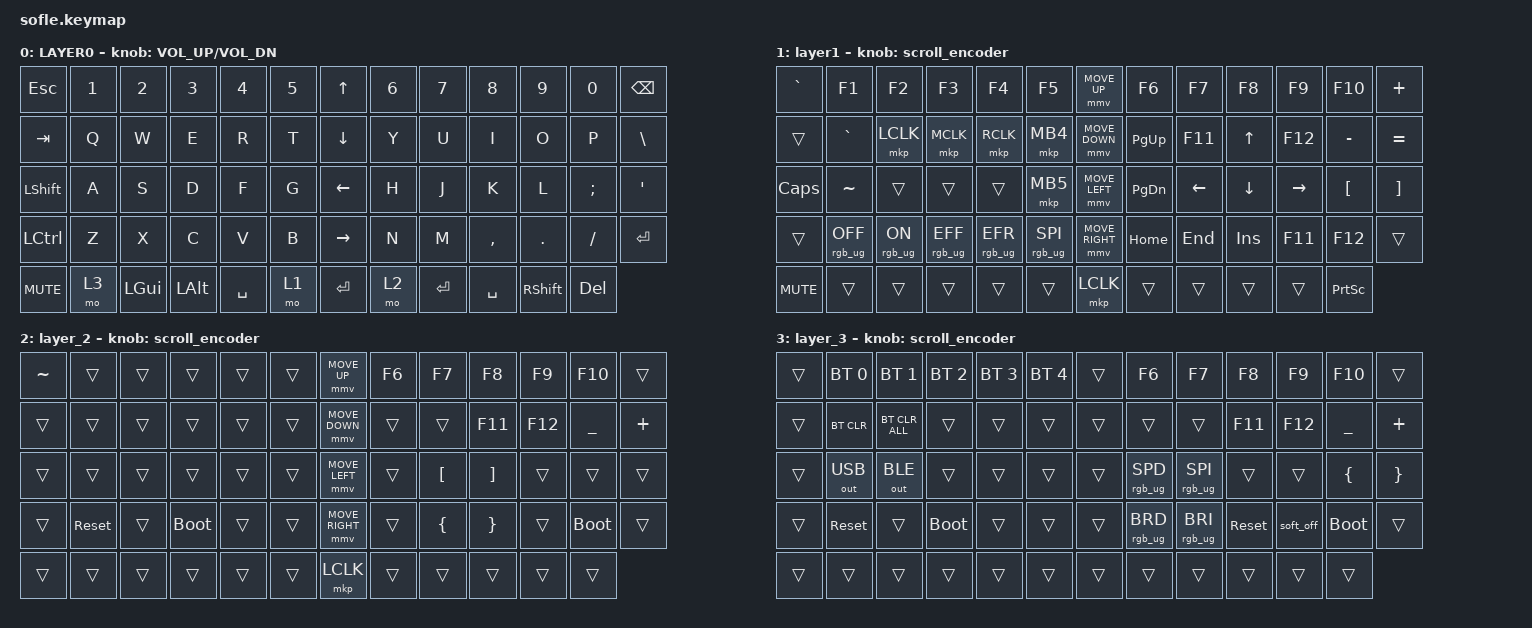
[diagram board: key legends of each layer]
#include <behaviors/mouse_keys.dtsi>
#include <behaviors.dtsi>
#include <dt-bindings/zmk/bt.h>
#include <dt-bindings/zmk/keys.h>
#include <dt-bindings/zmk/mouse.h>
#include <dt-bindings/zmk/outputs.h>
#include <dt-bindings/zmk/rgb.h>

#define ZMK_MOUSE_DEFAULT_MOVE_VAL 1200  // 600
#define ZMK_MOUSE_DEFAULT_SCRL_VAL 20    // 10
#define U_MS_U &mmv MOVE_UP
#define U_MS_D &mmv MOVE_DOWN
#define U_MS_L &mmv MOVE_LEFT
#define U_MS_R &mmv MOVE_RIGHT
#define ZMK_MOUSE_DEFAULT_MOVE_VAL 1200  //  600
#define ZMK_MOUSE_DEFAULT_SCRL_VAL 20    // 10

/ {
    behaviors {
        mmv {
            acceleration-exponent = <1>;      // 1
            time-to-max-speed-ms = <900>;    // 40
            delay-ms = <0>;                   // 0
        };

        msc {
            acceleration-exponent = <1>;      // 0
            time-to-max-speed-ms = <400>;      // 500
            delay-ms = <0>;                   //   10
        };
    };

    scroll_encoder: scroll_encoder {
        compatible = "zmk,behavior-sensor-rotate";
        #sensor-binding-cells = <0>;
        bindings = <&msc SCRL_DOWN>, <&msc SCRL_UP>;

        tap-ms = <30>;
    };

    keymap {
        compatible = "zmk,keymap";

        layer0 {
            bindings = <
&kp ESC         &kp N1  &kp N2        &kp N3        &kp N4     &kp N5    &kp UP_ARROW     &kp N6  &kp N7     &kp N8     &kp N9           &kp N0      &kp BACKSPACE
&kp TAB         &kp Q   &kp W         &kp E         &kp R      &kp T     &kp DOWN_ARROW   &kp Y   &kp U      &kp I      &kp O            &kp P       &kp BSLH
&kp LEFT_SHIFT  &kp A   &kp S         &kp D         &kp F      &kp G     &kp LEFT_ARROW   &kp H   &kp J      &kp K      &kp L            &kp SEMI    &kp APOS
&kp LCTRL       &kp Z   &kp X         &kp C         &kp V      &kp B     &kp RIGHT_ARROW  &kp N   &kp M      &kp COMMA  &kp DOT          &kp FSLH    &kp ENTER
&kp C_MUTE      &mo 3   &kp LEFT_GUI  &kp LEFT_ALT  &kp SPACE  &mo 1     &kp ENTER        &mo 2   &kp ENTER  &kp SPACE  &kp RIGHT_SHIFT  &kp DELETE
            >;

            sensor-bindings = <&inc_dec_kp C_VOLUME_UP C_VOL_DN>;
            display-name = "LAYER0";
        };

        layer_1 {
            bindings = <
&kp GRAVE   &kp F1           &kp F2          &kp F3           &kp F4           &kp F5             &mmv MOVE_UP     &kp F6     &kp F7    &kp F8      &kp F9     &kp F10           &kp PLUS
&trans      &kp GRAVE        &mkp LCLK       &mkp MCLK        &mkp RCLK        &mkp MB4           &mmv MOVE_DOWN   &kp PG_UP  &kp F11   &kp UP      &kp F12    &kp MINUS         &kp EQUAL
&kp CAPS    &kp TILDE        &trans          &trans           &trans           &mkp MB5           &mmv MOVE_LEFT   &kp PG_DN  &kp LEFT  &kp DOWN    &kp RIGHT  &kp LEFT_BRACKET  &kp RIGHT_BRACKET
&trans      &rgb_ug RGB_OFF  &rgb_ug RGB_ON  &rgb_ug RGB_EFF  &rgb_ug RGB_EFR  &rgb_ug RGB_SPI    &mmv MOVE_RIGHT  &kp HOME   &kp END   &kp INSERT  &kp F11    &kp F12           &trans
&kp C_MUTE  &trans           &trans          &trans           &trans           &trans             &mkp LCLK        &trans     &trans    &trans      &trans     &kp PRINTSCREEN
            >;

            display-name = "layer1";
            sensor-bindings = <&scroll_encoder>;
        };

        layer_2 {
            bindings = <
&kp TILDE  &trans      &trans  &trans       &trans  &trans    &mmv MOVE_UP     &kp F6  &kp F7    &kp F8    &kp F9   &kp F10      &trans
&trans     &trans      &trans  &trans       &trans  &trans    &mmv MOVE_DOWN   &trans  &trans    &kp F11   &kp F12  &kp UNDER    &kp PLUS
&trans     &trans      &trans  &trans       &trans  &trans    &mmv MOVE_LEFT   &trans  &kp LBKT  &kp RBKT  &trans   &trans       &trans
&trans     &sys_reset  &trans  &bootloader  &trans  &trans    &mmv MOVE_RIGHT  &trans  &kp LBRC  &kp RBRC  &trans   &bootloader  &trans
&trans     &trans      &trans  &trans       &trans  &trans    &mkp LCLK        &trans  &trans    &trans    &trans   &trans
            >;

            sensor-bindings = <&scroll_encoder>;
        };

        layer_3 {
            bindings = <
&trans  &bt BT_SEL 0  &bt BT_SEL 1    &bt BT_SEL 2  &bt BT_SEL 3  &bt BT_SEL 4    &trans  &kp F6           &kp F7           &kp F8      &kp F9     &kp F10      &trans
&trans  &bt BT_CLR    &bt BT_CLR_ALL  &trans        &trans        &trans          &trans  &trans           &trans           &kp F11     &kp F12    &kp UNDER    &kp PLUS
&trans  &out OUT_USB  &out OUT_BLE    &trans        &trans        &trans          &trans  &rgb_ug RGB_SPD  &rgb_ug RGB_SPI  &trans      &trans     &kp LBRC     &kp RBRC
&trans  &sys_reset    &trans          &bootloader   &trans        &trans          &trans  &rgb_ug RGB_BRD  &rgb_ug RGB_BRI  &sys_reset  &soft_off  &bootloader  &trans
&trans  &trans        &trans          &trans        &trans        &trans          &trans  &trans           &trans           &trans      &trans     &trans
            >;

            sensor-bindings = <&scroll_encoder>;
        };
    };
};
